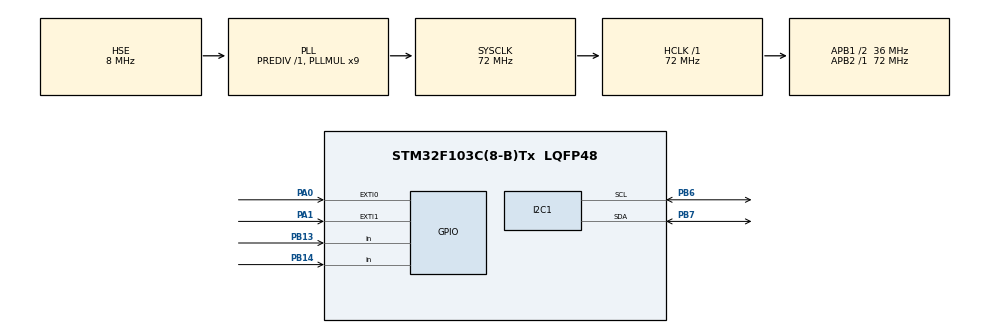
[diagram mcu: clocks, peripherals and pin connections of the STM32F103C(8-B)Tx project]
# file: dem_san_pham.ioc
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Mcu.Family=STM32F1
Mcu.Name=STM32F103C(8-B)Tx
Mcu.Package=LQFP48
NVIC.EXTI0_IRQn=true\:0\:0\:false\:false\:true\:true\:true\:true
NVIC.EXTI1_IRQn=true\:1\:0\:true\:false\:true\:true\:true\:true
NVIC.PriorityGroup=NVIC_PRIORITYGROUP_4
PA0-WKUP.GPIO_ModeDefaultEXTI=GPIO_MODE_IT_FALLING
PA0-WKUP.GPIO_PuPd=GPIO_PULLUP
PA0-WKUP.Signal=GPXTI0
PA1.GPIO_ModeDefaultEXTI=GPIO_MODE_IT_FALLING
PA1.GPIO_PuPd=GPIO_PULLUP
PA1.Signal=GPXTI1
PA13.Mode=Serial_Wire
PA13.Signal=SYS_JTMS-SWDIO
PA14.Mode=Serial_Wire
PA14.Signal=SYS_JTCK-SWCLK
PB13.GPIO_PuPd=GPIO_PULLUP
PB13.Signal=GPIO_Input
PB14.GPIO_PuPd=GPIO_PULLUP
PB14.Signal=GPIO_Input
PB6.Mode=I2C
PB6.Signal=I2C1_SCL
PB7.Mode=I2C
PB7.Signal=I2C1_SDA
PD0-OSC_IN.Mode=HSE-External-Oscillator
PD0-OSC_IN.Signal=RCC_OSC_IN
PD1-OSC_OUT.Mode=HSE-External-Oscillator
PD1-OSC_OUT.Signal=RCC_OSC_OUT
ProjectManager.HeapSize=0x200
ProjectManager.StackSize=0x400
ProjectManager.TargetToolchain=MDK-ARM V5.32
RCC.AHBFreq_Value=72000000
RCC.APB1CLKDivider=RCC_HCLK_DIV2
RCC.APB1Freq_Value=36000000
RCC.APB1TimFreq_Value=72000000
RCC.APB2Freq_Value=72000000
RCC.APB2TimFreq_Value=72000000
RCC.HCLKFreq_Value=72000000
RCC.PLLMUL=RCC_PLL_MUL9
RCC.PLLSourceVirtual=RCC_PLLSOURCE_HSE
RCC.SYSCLKFreq_VALUE=72000000
RCC.SYSCLKSource=RCC_SYSCLKSOURCE_PLLCLK
RCC.USBFreq_Value=72000000
board=custom

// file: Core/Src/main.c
/* USER CODE BEGIN Header */
/**
  ******************************************************************************
  * @file           : main.c
  * @brief          : Main program body
  ******************************************************************************
  * @attention
  *
  * Copyright (c) 2022 STMicroelectronics.
  * All rights reserved.
  *
  * This software is licensed under terms that can be found in the LICENSE file
  * in the root directory of this software component.
  * If no LICENSE file comes with this software, it is provided AS-IS.
  *
  ******************************************************************************
  */
/* USER CODE END Header */
#include "main.h"
#include "i2c.h"
#include "gpio.h"

/* USER CODE BEGIN Includes */
#include "i2c-lcd.h"
/* USER CODE END Includes */

uint16_t sp = 0;
uint8_t slCaidat = 5;
uint8_t donvi = 0;
uint8_t chedo = 0;

void SystemClock_Config(void);

/* USER CODE BEGIN 0 */
void HAL_GPIO_EXTI_Callback(uint16_t GPIO_Pin)
{
	if(HAL_GPIO_ReadPin(GPIOA, GPIO_PIN_0) == 0)
	{
		while(HAL_GPIO_ReadPin(GPIOA, GPIO_PIN_0) == 0);
		if(HAL_GPIO_ReadPin(GPIOA, GPIO_PIN_0) == 1)
		{
			if(chedo == 0)
			{
				sp++;
				if((sp%slCaidat) == 0)
				{
					donvi++;
				}
			}
		}
	}

	if(HAL_GPIO_ReadPin(GPIOA, GPIO_PIN_1) == 0)
	{
		while(HAL_GPIO_ReadPin(GPIOA, GPIO_PIN_1) == 0);
		if(HAL_GPIO_ReadPin(GPIOA, GPIO_PIN_1) == 1)
		{

			if(chedo == 0)
			{
				chedo = 1;
			}
			else{
				chedo = 0;
			}
	}}
}
/* USER CODE END 0 */

int main(void)
{

  /* MCU Configuration--------------------------------------------------------*/

  /* Reset of all peripherals, Initializes the Flash interface and the Systick. */
  HAL_Init();

  /* Configure the system clock */
  SystemClock_Config();

  /* Initialize all configured peripherals */
  MX_GPIO_Init();
  MX_I2C1_Init();
  /* USER CODE BEGIN 2 */
	lcd_init();
  /* USER CODE END 2 */

  /* Infinite loop */
  while (1)
  {
    /* USER CODE BEGIN 3 */
		if(chedo == 0)
		{
			lcd_put_cur(0,0);
			lcd_send_string("DEM SAN PHAM");
			lcd_send_cmd(0x80|0x40);
			lcd_send_string("SP: ");
			lcd_send_data((sp/10) + 48);
			lcd_send_data((sp%10) + 48);
			lcd_send_cmd(0x80|0x14);
			lcd_send_string("DON VI: ");
			lcd_send_data((donvi/10) + 48);
			lcd_send_data((donvi%10) + 48);
			HAL_Delay(50);
		}
		lcd_clear();
		if(chedo != 0)
		{
			lcd_put_cur(0,0);
			lcd_send_string("SO LUONG CAI DAT");
			lcd_send_cmd(0x80|0x40);
			lcd_send_string("SL CAI DAT: ");
			lcd_send_data(slCaidat + 48);
			HAL_Delay(50);
			if(HAL_GPIO_ReadPin(GPIOB, GPIO_PIN_13) == 0)
			{
				while(HAL_GPIO_ReadPin(GPIOB, GPIO_PIN_13) == 0);
				if(HAL_GPIO_ReadPin(GPIOB, GPIO_PIN_13) == 1)
				{
						slCaidat++;
				}
			}
		 if(HAL_GPIO_ReadPin(GPIOB, GPIO_PIN_14) == 0)
			 {
				while(HAL_GPIO_ReadPin(GPIOB, GPIO_PIN_14) == 0);
				if(HAL_GPIO_ReadPin(GPIOB, GPIO_PIN_14) == 1)
				{
					if(slCaidat <= 1)
					{
						slCaidat = 5;
					}
					else{
						slCaidat = slCaidat - 1;
					}
				}
			}
	}
}

}
  /* USER CODE END 3 */

void SystemClock_Config(void)
{
  RCC_OscInitTypeDef RCC_OscInitStruct = {0};
  RCC_ClkInitTypeDef RCC_ClkInitStruct = {0};

  /** Initializes the RCC Oscillators according to the specified parameters
  * in the RCC_OscInitTypeDef structure.
  */
  RCC_OscInitStruct.OscillatorType = RCC_OSCILLATORTYPE_HSE;
  RCC_OscInitStruct.HSEState = RCC_HSE_ON;
  RCC_OscInitStruct.HSEPredivValue = RCC_HSE_PREDIV_DIV1;
  RCC_OscInitStruct.HSIState = RCC_HSI_ON;
  RCC_OscInitStruct.PLL.PLLState = RCC_PLL_ON;
  RCC_OscInitStruct.PLL.PLLSource = RCC_PLLSOURCE_HSE;
  RCC_OscInitStruct.PLL.PLLMUL = RCC_PLL_MUL9;
  if (HAL_RCC_OscConfig(&RCC_OscInitStruct) != HAL_OK)
  {
    Error_Handler();
  }

  /** Initializes the CPU, AHB and APB buses clocks
  */
  RCC_ClkInitStruct.ClockType = RCC_CLOCKTYPE_HCLK|RCC_CLOCKTYPE_SYSCLK
                              |RCC_CLOCKTYPE_PCLK1|RCC_CLOCKTYPE_PCLK2;
  RCC_ClkInitStruct.SYSCLKSource = RCC_SYSCLKSOURCE_PLLCLK;
  RCC_ClkInitStruct.AHBCLKDivider = RCC_SYSCLK_DIV1;
  RCC_ClkInitStruct.APB1CLKDivider = RCC_HCLK_DIV2;
  RCC_ClkInitStruct.APB2CLKDivider = RCC_HCLK_DIV1;

  if (HAL_RCC_ClockConfig(&RCC_ClkInitStruct, FLASH_LATENCY_2) != HAL_OK)
  {
    Error_Handler();
  }
}

void Error_Handler(void)
{
  __disable_irq();
  while (1)
  {
  }
}
